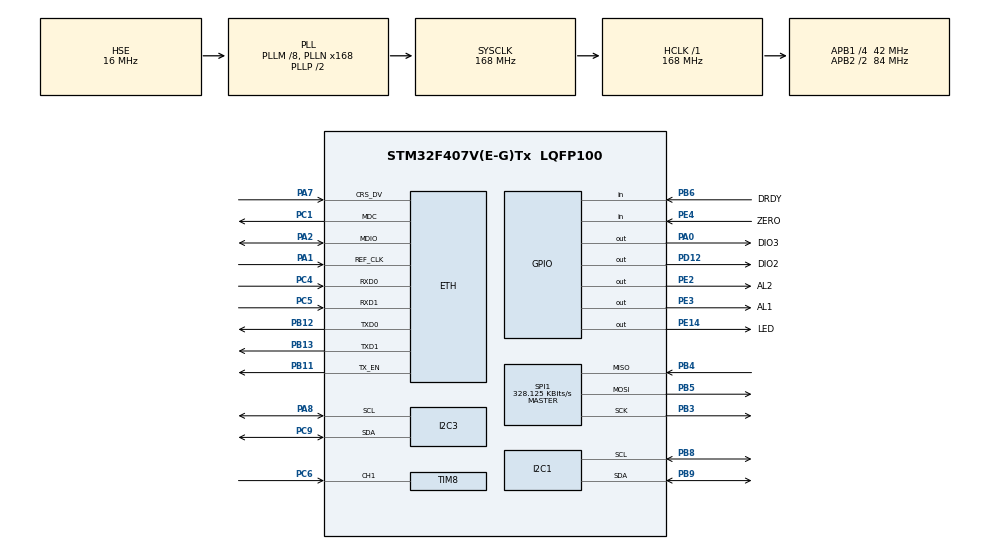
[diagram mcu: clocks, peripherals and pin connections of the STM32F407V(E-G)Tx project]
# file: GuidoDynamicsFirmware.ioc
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ADC1.Channel-1\#ChannelRegularConversion=ADC_CHANNEL_TEMPSENSOR
ADC1.ContinuousConvMode=ENABLE
ADC1.NbrOfConversionFlag=1
ADC1.Rank-1\#ChannelRegularConversion=1
ADC1.SamplingTime-1\#ChannelRegularConversion=ADC_SAMPLETIME_3CYCLES
ADC1.master=1
Dma.ADC1.0.Direction=DMA_PERIPH_TO_MEMORY
Dma.ADC1.0.FIFOMode=DMA_FIFOMODE_DISABLE
Dma.ADC1.0.Instance=DMA2_Stream0
Dma.ADC1.0.MemDataAlignment=DMA_MDATAALIGN_HALFWORD
Dma.ADC1.0.MemInc=DMA_MINC_ENABLE
Dma.ADC1.0.Mode=DMA_CIRCULAR
Dma.ADC1.0.PeriphDataAlignment=DMA_PDATAALIGN_HALFWORD
Dma.ADC1.0.PeriphInc=DMA_PINC_DISABLE
Dma.ADC1.0.Priority=DMA_PRIORITY_LOW
Dma.Request0=ADC1
ETH.MediaInterface=HAL_ETH_RMII_MODE
LWIP.BSP.number=1
LWIP.GATEWAY_ADDRESS=192.168.000.001
LWIP.IP_ADDRESS=192.168.000.123
LWIP.LWIP_DHCP=0
LWIP.MEM_SIZE=10*1024
LWIP.NETMASK_ADDRESS=255.255.255.000
LWIP.Version=v2.1.2_Cube
LWIP0.BSP.STBoard=false
LWIP0.BSP.api=BSP_COMPONENT_DRIVER
LWIP0.BSP.component=LAN8742
LWIP0.BSP.instance=LAN8742
LWIP0.BSP.name=Driver_PHY
LWIP0.BSP.semaphore=S_LAN8742
LWIP0.BSP.solution=LAN8742
Mcu.Family=STM32F4
Mcu.Name=STM32F407V(E-G)Tx
Mcu.Package=LQFP100
NVIC.DMA2_Stream0_IRQn=true\:1\:0\:true\:false\:true\:false\:true\:true
NVIC.ETH_IRQn=true\:0\:0\:true\:false\:true\:true\:true\:true
NVIC.PriorityGroup=NVIC_PRIORITYGROUP_4
NVIC.TIM1_UP_TIM10_IRQn=true\:0\:0\:false\:false\:true\:true\:true\:true
NVIC.TIM3_IRQn=true\:1\:0\:true\:false\:true\:true\:true\:true
NVIC.TIM4_IRQn=true\:5\:0\:true\:false\:true\:true\:true\:true
NVIC.TIM7_IRQn=true\:0\:0\:false\:false\:true\:true\:true\:true
NVIC.TIM8_CC_IRQn=true\:1\:0\:true\:false\:true\:true\:true\:true
NVIC.TIM8_UP_TIM13_IRQn=true\:1\:0\:true\:false\:true\:true\:true\:true
PA0-WKUP.GPIO_Label=DIO3
PA0-WKUP.GPIO_Speed=GPIO_SPEED_FREQ_VERY_HIGH
PA0-WKUP.Signal=GPIO_Output
PA1.Mode=RMII
PA1.Signal=ETH_REF_CLK
PA13.Mode=Serial_Wire
PA13.Signal=SYS_JTMS-SWDIO
PA14.Mode=Serial_Wire
PA14.Signal=SYS_JTCK-SWCLK
PA2.Mode=RMII
PA2.Signal=ETH_MDIO
PA7.Mode=RMII
PA7.Signal=ETH_CRS_DV
PA8.Mode=I2C
PA8.Signal=I2C3_SCL
PB11.Mode=RMII
PB11.Signal=ETH_TX_EN
PB12.Mode=RMII
PB12.Signal=ETH_TXD0
PB13.Mode=RMII
PB13.Signal=ETH_TXD1
PB3.Mode=Full_Duplex_Master
PB3.Signal=SPI1_SCK
PB4.Mode=Full_Duplex_Master
PB4.Signal=SPI1_MISO
PB5.Mode=Full_Duplex_Master
PB5.Signal=SPI1_MOSI
PB6.GPIO_Label=DRDY
PB6.GPIO_Mode=GPIO_MODE_INPUT
PB6.GPIO_PuPd=GPIO_PULLUP
PB6.Signal=GPIO_Input
PB8.Mode=I2C
PB8.Signal=I2C1_SCL
PB9.Mode=I2C
PB9.Signal=I2C1_SDA
PC1.Mode=RMII
PC1.Signal=ETH_MDC
PC4.Mode=RMII
PC4.Signal=ETH_RXD0
PC5.Mode=RMII
PC5.Signal=ETH_RXD1
PC6.Signal=S_TIM8_CH1
PC9.Mode=I2C
PC9.Signal=I2C3_SDA
PD12.GPIO_Label=DIO2
PD12.GPIO_Speed=GPIO_SPEED_FREQ_HIGH
PD12.Signal=GPIO_Output
PE14.GPIO_Label=LED
PE14.Signal=GPIO_Output
PE2.GPIO_Label=AL2
PE2.Signal=GPIO_Output
PE3.GPIO_Label=AL1
PE3.Signal=GPIO_Output
PE4.GPIO_Label=ZERO
PE4.Signal=GPIO_Input
PH0-OSC_IN.Mode=HSE-External-Oscillator
PH0-OSC_IN.Signal=RCC_OSC_IN
PH1-OSC_OUT.Mode=HSE-External-Oscillator
PH1-OSC_OUT.Signal=RCC_OSC_OUT
ProjectManager.HeapSize=0x200
ProjectManager.StackSize=0x400
ProjectManager.TargetToolchain=STM32CubeIDE
RCC.48MHZClocksFreq_Value=84000000
RCC.AHBFreq_Value=168000000
RCC.APB1CLKDivider=RCC_HCLK_DIV4
RCC.APB1Freq_Value=42000000
RCC.APB1TimFreq_Value=84000000
RCC.APB2CLKDivider=RCC_HCLK_DIV2
RCC.APB2Freq_Value=84000000
RCC.APB2TimFreq_Value=168000000
RCC.CortexFreq_Value=168000000
RCC.HCLKFreq_Value=168000000
RCC.HSE_VALUE=16000000
RCC.HSI_VALUE=16000000
RCC.LSE_VALUE=32768
RCC.PLLM=8
RCC.PLLN=168
RCC.PLLSourceVirtual=RCC_PLLSOURCE_HSE
RCC.SYSCLKFreq_VALUE=168000000
RCC.SYSCLKSource=RCC_SYSCLKSOURCE_PLLCLK
RCC.VCOOutputFreq_Value=336000000
SH.S_TIM8_CH1.0=TIM8_CH1,Input_Capture1_from_TI1
SH.S_TIM8_CH1.1=TIM8_CH1,TriggerSource_TI1FP1
SPI1.BaudRatePrescaler=SPI_BAUDRATEPRESCALER_256
SPI1.CLKPhase=SPI_PHASE_2EDGE
SPI1.CalculateBaudRate=328.125 KBits/s
SPI1.Direction=SPI_DIRECTION_2LINES
SPI1.Mode=SPI_MODE_MASTER
SPI1.VirtualType=VM_MASTER
TIM1.Period=10000-1
TIM1.Prescaler=8400-1
TIM13.Period=84-1
TIM13.Prescaler=10000-1
TIM3.Period=560-1
TIM3.Prescaler=10000-1
TIM4.Period=84-1
TIM4.Prescaler=10-1
TIM7.Period=500-1
TIM7.Prescaler=8400-1
TIM8.Channel-Input_Capture1_from_TI1=TIM_CHANNEL_1
TIM8.Period=64000
TIM8.Prescaler=50-1
TIM9.Prescaler=64000-1
VP_ADC1_TempSens_Input.Mode=IN-TempSens
VP_LWIP_VS_Enabled.Mode=Enabled
VP_TIM13_VS_ClockSourceINT.Mode=Enable_Timer
VP_TIM1_VS_ClockSourceINT.Mode=Internal
VP_TIM3_VS_ClockSourceINT.Mode=Internal
VP_TIM4_VS_ClockSourceINT.Mode=Internal
VP_TIM7_VS_ClockSourceINT.Mode=Enable_Timer
VP_TIM8_VS_ClockSourceINT.Mode=Internal
VP_TIM8_VS_ControllerModeReset.Mode=Reset Mode
VP_TIM9_VS_ClockSourceINT.Mode=Internal
board=custom

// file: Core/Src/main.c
/* USER CODE BEGIN Header */
/**
  ******************************************************************************
  * @file           : main.c
  * @brief          : Main program body
  ******************************************************************************
  * @attention
  *
  * Copyright (c) 2026 STMicroelectronics.
  * All rights reserved.
  *
  * This software is licensed under terms that can be found in the LICENSE file
  * in the root directory of this software component.
  * If no LICENSE file comes with this software, it is provided AS-IS.
  *
  ******************************************************************************
  */
/* USER CODE END Header */
#include "main.h"
#include "lwip.h"

/* USER CODE BEGIN Includes */
#include "udpClientRAW.h"
#include "ADS1115.h"
#include "BME680.h"
#include "valveControl.h"
#include "ADS124S06.h"
/* USER CODE END Includes */

/* USER CODE BEGIN PTD */
#define HALL_INDUCTANCE SpeedInduction_Pin
#define PULSE_PER_REV 50
#define RAMP_TIMER_FREQUENCY 15
/* USER CODE END PTD */

ADC_HandleTypeDef hadc1;
DMA_HandleTypeDef hdma_adc1;

I2C_HandleTypeDef hi2c1;
I2C_HandleTypeDef hi2c3;

SPI_HandleTypeDef hspi1;

TIM_HandleTypeDef htim1;
TIM_HandleTypeDef htim3;
TIM_HandleTypeDef htim4;
TIM_HandleTypeDef htim7;
TIM_HandleTypeDef htim8;
TIM_HandleTypeDef htim9;
TIM_HandleTypeDef htim13;

/* USER CODE BEGIN PV */
int pollTempPresHumi = 0; // Flag to measure temperature, pressure, and humidity
int pollForce = 0; // Flag to measure load cell force
// There is not speed flag (interrupt driven)

uint32_t timerNow = 0;
uint32_t timerPrev = 0;

uint16_t adc_buf[16];

int ringsDebounce = 0;

int visAlarm = 0;

int pumpActive = 0;
int startCount = 0;
float valveIdleThresh = 400.0f;

float KI_Storage = 0.0f;

struct valveData valveData;
struct PID_Data PID_Data;
/* USER CODE END PV */

void SystemClock_Config(void);
static void MX_GPIO_Init(void);
static void MX_DMA_Init(void);
static void MX_TIM1_Init(void);
static void MX_I2C1_Init(void);
static void MX_I2C3_Init(void);
static void MX_TIM8_Init(void);
static void MX_TIM3_Init(void);
static void MX_TIM4_Init(void);
static void MX_ADC1_Init(void);
static void MX_TIM13_Init(void);
static void MX_TIM7_Init(void);
static void MX_SPI1_Init(void);
static void MX_TIM9_Init(void);

/* USER CODE BEGIN 0 */
extern struct netif gnetif;
extern struct dataPacket dataPacketNow;
extern struct dataPacket dataPacketPrev;

extern int environmentalFlag;

extern int rings;
/* USER CODE END 0 */

int main(void)
{

  /* MCU Configuration--------------------------------------------------------*/

  /* Reset of all peripherals, Initializes the Flash interface and the Systick. */
  HAL_Init();

  /* Configure the system clock */
  SystemClock_Config();

  /* Initialize all configured peripherals */
  MX_GPIO_Init();
  MX_DMA_Init();
  MX_TIM1_Init();
  MX_LWIP_Init();
  MX_I2C1_Init();
  MX_I2C3_Init();
  MX_TIM8_Init();
  MX_TIM3_Init();
  MX_TIM4_Init();
  MX_ADC1_Init();
  MX_TIM13_Init();
  MX_TIM7_Init();
  MX_SPI1_Init();
  MX_TIM9_Init();
  /* USER CODE BEGIN 2 */
  HAL_TIM_Base_Start_IT(&htim1);
  HAL_TIM_Base_Start_IT(&htim3);
  HAL_TIM_Base_Start_IT(&htim4);
  HAL_TIM_Base_Start_IT(&htim7);
  HAL_TIM_Base_Start_IT(&htim9);
  HAL_TIM_Base_Start_IT(&htim13);
  HAL_TIM_IC_Start_IT(&htim8, TIM_CHANNEL_1);

  udpClient_connect();

  // Default values for valve
  valveData.pulsesPerRev = 6400; // This should be set to the lowest possible selectable
  valveData.upperBound = valveData.pulsesPerRev; // Rough guess, test and fix
  valveData.polarity = -1; // 1 for normal, -1 for inversed.
  valveData.position = 0; // Start at zero, then run zeroing procedure
  valveData.targetPosition = 0;
  valveData.gearReduction = 1;
  valveData.positionInSteps = 0;

  PID_Data.RPM_Target = 800;
  PID_Data.KP = 0.003f;
  PID_Data.KI = 0.01f;
  PID_Data.KD = 0.5f; // 0.5
  PID_Data.accum = 0.0f;
  PID_Data.accumMax = 1.0f;

  PID_Data.RPM_EN = 0;

  HAL_GPIO_WritePin(AL2_GPIO_Port, AL2_Pin, 0);
  HAL_GPIO_WritePin(AL1_GPIO_Port, AL1_Pin, 0);

//  HAL_Delay(1000);

  rings = 2;

  BME680_Init();

//  HAL_GPIO_WritePin(DIO2_GPIO_Port, DIO2_Pin, 0);

//  HAL_NVIC_DisableIRQ(TIM4_IRQn);

  ADS124S06_Init();
  /* USER CODE END 2 */

  /* Infinite loop */
  while (1)
  {

    /* USER CODE BEGIN 3 */
	  if(visAlarm == 1){
//		  HAL_GPIO_WritePin(AL2_GPIO_Port, AL1_Pin, 1);
	  }

	  if(visAlarm == 1 && dataPacketNow.RPM <= 0.6 * PID_Data.RPM_End_Target){
//		  HAL_GPIO_WritePin(AL1_GPIO_Port, AL1_Pin, 0);
//		  HAL_GPIO_WritePin(AL2_GPIO_Port, AL2_Pin, 0);
		  visAlarm = 0;
	  }

	  if(valveData.intFlag == 1){
		  valveControlLoop();
	  }

	  if(PID_Data.RPM_Flag == 1){
		  PID_OP_PT();
	  }

	  if(valveData.position <= valveIdleThresh){
		  uint32_t cnt = __HAL_TIM_GET_COUNTER(&htim9);
		  if(cnt >= 30000){
			  pumpActive = 0;
//			  startCount = 0;
		  }
	  }else if(valveData.position >= valveIdleThresh){
		  __HAL_TIM_SET_COUNTER(&htim9, 0);  // reset to 0
		  pumpActive = 1;
	  }

	  if(pumpActive == 1){
		  HAL_GPIO_WritePin(AL1_GPIO_Port, AL1_Pin, 1);
	  }else{
		  HAL_GPIO_WritePin(AL1_GPIO_Port, AL1_Pin, 0);
	  }

	  if(PID_Data.RPMS_Flag){
		  PID_Data.RPMS_Flag = 0;
		  for(uint8_t i = 0; i < (sizeof(PID_Data.rpms)/sizeof(PID_Data.rpms[0]))-1; i++){
			  PID_Data.rpms[i+1] = PID_Data.rpms[i];
		  }
		  PID_Data.rpms[0] = dataPacketNow.RPM;

		  if(PID_Data.RPM_RAMP_EN == 1){
			  if(ringsDebounce == 0){
				   KI_Storage = PID_Data.KI;
				   PID_Data.KI = 0;
				  rings = 1;
				  ringsDebounce = 1;
			  }
			  PID_Data.RPM_Target += (PID_Data.RPM_Ramp_Rate/RAMP_TIMER_FREQUENCY);
			  if(PID_Data.RPM_Target >= PID_Data.RPM_End_Target-1){
				  rings = 6;
				  //visAlarm = 1;
				  PID_Data.KI = KI_Storage;
				  KI_Storage = 0;
				  PID_Data.RPM_RAMP_EN = 0;
				  ringsDebounce = 0;
			  }
		  }
	  }
//      if(PID_Data.RPMS_Flag == 1){
//		  PID_Data.RPMS_Flag = 0;
//		  for(uint8_t i = 0; i < sizeof(PID_Data.rpms)/sizeof(PID_Data.rpms[0]); i++){
//
//		  }
//      }

	  int32_t test = ADS124S06_ReadData();
	  float voltage = ADS124S06_ConvertToVoltage(test, 1.66f);

      if(environmentalFlag == 1){
    	  BME680_ForceTrigger();
    	  dataPacketNow.temp = BME680_ReadTemp();
    	  dataPacketNow.pressure = BME680_ReadPressure();
    	  dataPacketNow.humidity = BME680_ReadHumidity(dataPacketNow.temp);
    	  environmentalFlag = 0;
      }

//      HAL_ADC_Start_DMA(&hadc1, (uint32_t*)adc_buf, 16);
//      dataPacketNow.temp = (adc_buf[0] * 3.3) / 4096.0;
//      dataPacketNow.temp = (((dataPacketNow.temp) - 0.76) / 0.0025) + 25.0;

      dataPacketNow.force = voltage;

	  MX_LWIP_Process();
	  ethernetif_input(&gnetif);
	  sys_check_timeouts();
  }
  /* USER CODE END 3 */
}

void SystemClock_Config(void)
{
  RCC_OscInitTypeDef RCC_OscInitStruct = {0};
  RCC_ClkInitTypeDef RCC_ClkInitStruct = {0};

  /** Configure the main internal regulator output voltage
  */
  __HAL_RCC_PWR_CLK_ENABLE();
  __HAL_PWR_VOLTAGESCALING_CONFIG(PWR_REGULATOR_VOLTAGE_SCALE1);

  /** Initializes the RCC Oscillators according to the specified parameters
  * in the RCC_OscInitTypeDef structure.
  */
  RCC_OscInitStruct.OscillatorType = RCC_OSCILLATORTYPE_HSE;
  RCC_OscInitStruct.HSEState = RCC_HSE_ON;
  RCC_OscInitStruct.PLL.PLLState = RCC_PLL_ON;
  RCC_OscInitStruct.PLL.PLLSource = RCC_PLLSOURCE_HSE;
  RCC_OscInitStruct.PLL.PLLM = 8;
  RCC_OscInitStruct.PLL.PLLN = 168;
  RCC_OscInitStruct.PLL.PLLP = RCC_PLLP_DIV2;
  RCC_OscInitStruct.PLL.PLLQ = 4;
  if (HAL_RCC_OscConfig(&RCC_OscInitStruct) != HAL_OK)
  {
    Error_Handler();
  }

  /** Initializes the CPU, AHB and APB buses clocks
  */
  RCC_ClkInitStruct.ClockType = RCC_CLOCKTYPE_HCLK|RCC_CLOCKTYPE_SYSCLK
                              |RCC_CLOCKTYPE_PCLK1|RCC_CLOCKTYPE_PCLK2;
  RCC_ClkInitStruct.SYSCLKSource = RCC_SYSCLKSOURCE_PLLCLK;
  RCC_ClkInitStruct.AHBCLKDivider = RCC_SYSCLK_DIV1;
  RCC_ClkInitStruct.APB1CLKDivider = RCC_HCLK_DIV4;
  RCC_ClkInitStruct.APB2CLKDivider = RCC_HCLK_DIV2;

  if (HAL_RCC_ClockConfig(&RCC_ClkInitStruct, FLASH_LATENCY_5) != HAL_OK)
  {
    Error_Handler();
  }
}

static void MX_ADC1_Init(void)
{

  ADC_ChannelConfTypeDef sConfig = {0};

  /** Configure the global features of the ADC (Clock, Resolution, Data Alignment and number of conversion)
  */
  hadc1.Instance = ADC1;
  hadc1.Init.ClockPrescaler = ADC_CLOCK_SYNC_PCLK_DIV4;
  hadc1.Init.Resolution = ADC_RESOLUTION_12B;
  hadc1.Init.ScanConvMode = DISABLE;
  hadc1.Init.ContinuousConvMode = ENABLE;
  hadc1.Init.DiscontinuousConvMode = DISABLE;
  hadc1.Init.ExternalTrigConvEdge = ADC_EXTERNALTRIGCONVEDGE_NONE;
  hadc1.Init.ExternalTrigConv = ADC_SOFTWARE_START;
  hadc1.Init.DataAlign = ADC_DATAALIGN_RIGHT;
  hadc1.Init.NbrOfConversion = 1;
  hadc1.Init.DMAContinuousRequests = DISABLE;
  hadc1.Init.EOCSelection = ADC_EOC_SINGLE_CONV;
  if (HAL_ADC_Init(&hadc1) != HAL_OK)
  {
    Error_Handler();
  }

  /** Configure for the selected ADC regular channel its corresponding rank in the sequencer and its sample time.
  */
  sConfig.Channel = ADC_CHANNEL_TEMPSENSOR;
  sConfig.Rank = 1;
  sConfig.SamplingTime = ADC_SAMPLETIME_3CYCLES;
  if (HAL_ADC_ConfigChannel(&hadc1, &sConfig) != HAL_OK)
  {
    Error_Handler();
  }

}

static void MX_I2C1_Init(void)
{

  hi2c1.Instance = I2C1;
  hi2c1.Init.ClockSpeed = 100000;
  hi2c1.Init.DutyCycle = I2C_DUTYCYCLE_2;
  hi2c1.Init.OwnAddress1 = 0;
  hi2c1.Init.AddressingMode = I2C_ADDRESSINGMODE_7BIT;
  hi2c1.Init.DualAddressMode = I2C_DUALADDRESS_DISABLE;
  hi2c1.Init.OwnAddress2 = 0;
  hi2c1.Init.GeneralCallMode = I2C_GENERALCALL_DISABLE;
  hi2c1.Init.NoStretchMode = I2C_NOSTRETCH_DISABLE;
  if (HAL_I2C_Init(&hi2c1) != HAL_OK)
  {
    Error_Handler();
  }

}

static void MX_I2C3_Init(void)
{

  hi2c3.Instance = I2C3;
  hi2c3.Init.ClockSpeed = 100000;
  hi2c3.Init.DutyCycle = I2C_DUTYCYCLE_2;
  hi2c3.Init.OwnAddress1 = 0;
  hi2c3.Init.AddressingMode = I2C_ADDRESSINGMODE_7BIT;
  hi2c3.Init.DualAddressMode = I2C_DUALADDRESS_DISABLE;
  hi2c3.Init.OwnAddress2 = 0;
  hi2c3.Init.GeneralCallMode = I2C_GENERALCALL_DISABLE;
  hi2c3.Init.NoStretchMode = I2C_NOSTRETCH_DISABLE;
  if (HAL_I2C_Init(&hi2c3) != HAL_OK)
  {
    Error_Handler();
  }

}

static void MX_SPI1_Init(void)
{

  /* SPI1 parameter configuration*/
  hspi1.Instance = SPI1;
  hspi1.Init.Mode = SPI_MODE_MASTER;
  hspi1.Init.Direction = SPI_DIRECTION_2LINES;
  hspi1.Init.DataSize = SPI_DATASIZE_8BIT;
  hspi1.Init.CLKPolarity = SPI_POLARITY_LOW;
  hspi1.Init.CLKPhase = SPI_PHASE_2EDGE;
  hspi1.Init.NSS = SPI_NSS_SOFT;
  hspi1.Init.BaudRatePrescaler = SPI_BAUDRATEPRESCALER_256;
  hspi1.Init.FirstBit = SPI_FIRSTBIT_MSB;
  hspi1.Init.TIMode = SPI_TIMODE_DISABLE;
  hspi1.Init.CRCCalculation = SPI_CRCCALCULATION_DISABLE;
  hspi1.Init.CRCPolynomial = 10;
  if (HAL_SPI_Init(&hspi1) != HAL_OK)
  {
    Error_Handler();
  }

}

static void MX_TIM1_Init(void)
{

  TIM_ClockConfigTypeDef sClockSourceConfig = {0};
  TIM_MasterConfigTypeDef sMasterConfig = {0};

  htim1.Instance = TIM1;
  htim1.Init.Prescaler = 8400-1;
  htim1.Init.CounterMode = TIM_COUNTERMODE_UP;
  htim1.Init.Period = 10000-1;
  htim1.Init.ClockDivision = TIM_CLOCKDIVISION_DIV1;
  htim1.Init.RepetitionCounter = 0;
  htim1.Init.AutoReloadPreload = TIM_AUTORELOAD_PRELOAD_DISABLE;
  if (HAL_TIM_Base_Init(&htim1) != HAL_OK)
  {
    Error_Handler();
  }
  sClockSourceConfig.ClockSource = TIM_CLOCKSOURCE_INTERNAL;
  if (HAL_TIM_ConfigClockSource(&htim1, &sClockSourceConfig) != HAL_OK)
  {
    Error_Handler();
  }
  sMasterConfig.MasterOutputTrigger = TIM_TRGO_RESET;
  sMasterConfig.MasterSlaveMode = TIM_MASTERSLAVEMODE_DISABLE;
  if (HAL_TIMEx_MasterConfigSynchronization(&htim1, &sMasterConfig) != HAL_OK)
  {
    Error_Handler();
  }

}

static void MX_TIM3_Init(void)
{

  TIM_ClockConfigTypeDef sClockSourceConfig = {0};
  TIM_MasterConfigTypeDef sMasterConfig = {0};

  htim3.Instance = TIM3;
  htim3.Init.Prescaler = 10000-1;
  htim3.Init.CounterMode = TIM_COUNTERMODE_UP;
  htim3.Init.Period = 560-1;
  htim3.Init.ClockDivision = TIM_CLOCKDIVISION_DIV1;
  htim3.Init.AutoReloadPreload = TIM_AUTORELOAD_PRELOAD_DISABLE;
  if (HAL_TIM_Base_Init(&htim3) != HAL_OK)
  {
    Error_Handler();
  }
  sClockSourceConfig.ClockSource = TIM_CLOCKSOURCE_INTERNAL;
  if (HAL_TIM_ConfigClockSource(&htim3, &sClockSourceConfig) != HAL_OK)
  {
    Error_Handler();
  }
  sMasterConfig.MasterOutputTrigger = TIM_TRGO_RESET;
  sMasterConfig.MasterSlaveMode = TIM_MASTERSLAVEMODE_DISABLE;
  if (HAL_TIMEx_MasterConfigSynchronization(&htim3, &sMasterConfig) != HAL_OK)
  {
    Error_Handler();
  }

}

static void MX_TIM4_Init(void)
{

  TIM_ClockConfigTypeDef sClockSourceConfig = {0};
  TIM_MasterConfigTypeDef sMasterConfig = {0};

  htim4.Instance = TIM4;
  htim4.Init.Prescaler = 10-1;
  htim4.Init.CounterMode = TIM_COUNTERMODE_UP;
  htim4.Init.Period = 84-1;
  htim4.Init.ClockDivision = TIM_CLOCKDIVISION_DIV1;
  htim4.Init.AutoReloadPreload = TIM_AUTORELOAD_PRELOAD_DISABLE;
  if (HAL_TIM_Base_Init(&htim4) != HAL_OK)
  {
    Error_Handler();
  }
  sClockSourceConfig.ClockSource = TIM_CLOCKSOURCE_INTERNAL;
  if (HAL_TIM_ConfigClockSource(&htim4, &sClockSourceConfig) != HAL_OK)
  {
    Error_Handler();
  }
  sMasterConfig.MasterOutputTrigger = TIM_TRGO_RESET;
  sMasterConfig.MasterSlaveMode = TIM_MASTERSLAVEMODE_DISABLE;
  if (HAL_TIMEx_MasterConfigSynchronization(&htim4, &sMasterConfig) != HAL_OK)
  {
    Error_Handler();
  }

}

static void MX_TIM7_Init(void)
{

  TIM_MasterConfigTypeDef sMasterConfig = {0};

  htim7.Instance = TIM7;
  htim7.Init.Prescaler = 8400-1;
  htim7.Init.CounterMode = TIM_COUNTERMODE_UP;
  htim7.Init.Period = 500-1;
  htim7.Init.AutoReloadPreload = TIM_AUTORELOAD_PRELOAD_DISABLE;
  if (HAL_TIM_Base_Init(&htim7) != HAL_OK)
  {
    Error_Handler();
  }
  sMasterConfig.MasterOutputTrigger = TIM_TRGO_RESET;
  sMasterConfig.MasterSlaveMode = TIM_MASTERSLAVEMODE_DISABLE;
  if (HAL_TIMEx_MasterConfigSynchronization(&htim7, &sMasterConfig) != HAL_OK)
  {
    Error_Handler();
  }

}

static void MX_TIM8_Init(void)
{

  TIM_ClockConfigTypeDef sClockSourceConfig = {0};
  TIM_SlaveConfigTypeDef sSlaveConfig = {0};
  TIM_MasterConfigTypeDef sMasterConfig = {0};
  TIM_IC_InitTypeDef sConfigIC = {0};

  htim8.Instance = TIM8;
  htim8.Init.Prescaler = 50-1;
  htim8.Init.CounterMode = TIM_COUNTERMODE_UP;
  htim8.Init.Period = 64000;
  htim8.Init.ClockDivision = TIM_CLOCKDIVISION_DIV1;
  htim8.Init.RepetitionCounter = 0;
  htim8.Init.AutoReloadPreload = TIM_AUTORELOAD_PRELOAD_DISABLE;
  if (HAL_TIM_Base_Init(&htim8) != HAL_OK)
  {
    Error_Handler();
  }
  sClockSourceConfig.ClockSource = TIM_CLOCKSOURCE_INTERNAL;
  if (HAL_TIM_ConfigClockSource(&htim8, &sClockSourceConfig) != HAL_OK)
  {
    Error_Handler();
  }
  if (HAL_TIM_IC_Init(&htim8) != HAL_OK)
  {
    Error_Handler();
  }
  sSlaveConfig.SlaveMode = TIM_SLAVEMODE_RESET;
  sSlaveConfig.InputTrigger = TIM_TS_TI1FP1;
  sSlaveConfig.TriggerPolarity = TIM_INPUTCHANNELPOLARITY_RISING;
  sSlaveConfig.TriggerFilter = 0;
  if (HAL_TIM_SlaveConfigSynchro(&htim8, &sSlaveConfig) != HAL_OK)
  {
    Error_Handler();
  }
  sMasterConfig.MasterOutputTrigger = TIM_TRGO_RESET;
  sMasterConfig.MasterSlaveMode = TIM_MASTERSLAVEMODE_DISABLE;
  if (HAL_TIMEx_MasterConfigSynchronization(&htim8, &sMasterConfig) != HAL_OK)
  {
    Error_Handler();
  }
  sConfigIC.ICPolarity = TIM_INPUTCHANNELPOLARITY_RISING;
  sConfigIC.ICSelection = TIM_ICSELECTION_DIRECTTI;
  sConfigIC.ICPrescaler = TIM_ICPSC_DIV1;
  sConfigIC.ICFilter = 0;
  if (HAL_TIM_IC_ConfigChannel(&htim8, &sConfigIC, TIM_CHANNEL_1) != HAL_OK)
  {
    Error_Handler();
  }

}

static void MX_TIM9_Init(void)
{

  TIM_ClockConfigTypeDef sClockSourceConfig = {0};

  htim9.Instance = TIM9;
  htim9.Init.Prescaler = 64000-1;
  htim9.Init.CounterMode = TIM_COUNTERMODE_UP;
  htim9.Init.Period = 65535;
  htim9.Init.ClockDivision = TIM_CLOCKDIVISION_DIV1;
  htim9.Init.AutoReloadPreload = TIM_AUTORELOAD_PRELOAD_DISABLE;
  if (HAL_TIM_Base_Init(&htim9) != HAL_OK)
  {
    Error_Handler();
  }
  sClockSourceConfig.ClockSource = TIM_CLOCKSOURCE_INTERNAL;
  if (HAL_TIM_ConfigClockSource(&htim9, &sClockSourceConfig) != HAL_OK)
  {
    Error_Handler();
  }

}

static void MX_TIM13_Init(void)
{

  htim13.Instance = TIM13;
  htim13.Init.Prescaler = 10000-1;
  htim13.Init.CounterMode = TIM_COUNTERMODE_UP;
  htim13.Init.Period = 84-1;
  htim13.Init.ClockDivision = TIM_CLOCKDIVISION_DIV1;
  htim13.Init.AutoReloadPreload = TIM_AUTORELOAD_PRELOAD_DISABLE;
  if (HAL_TIM_Base_Init(&htim13) != HAL_OK)
  {
    Error_Handler();
  }

}

static void MX_DMA_Init(void)
{

  /* DMA controller clock enable */
  __HAL_RCC_DMA2_CLK_ENABLE();

  /* DMA interrupt init */
  /* DMA2_Stream0_IRQn interrupt configuration */
  HAL_NVIC_SetPriority(DMA2_Stream0_IRQn, 1, 0);
  HAL_NVIC_EnableIRQ(DMA2_Stream0_IRQn);

}

static void MX_GPIO_Init(void)
{
  GPIO_InitTypeDef GPIO_InitStruct = {0};

  /* GPIO Ports Clock Enable */
  __HAL_RCC_GPIOE_CLK_ENABLE();
  __HAL_RCC_GPIOH_CLK_ENABLE();
  __HAL_RCC_GPIOC_CLK_ENABLE();
  __HAL_RCC_GPIOA_CLK_ENABLE();
  __HAL_RCC_GPIOB_CLK_ENABLE();
  __HAL_RCC_GPIOD_CLK_ENABLE();

  /*Configure GPIO pin Output Level */
  HAL_GPIO_WritePin(GPIOE, AL2_Pin|AL1_Pin|LED_Pin, GPIO_PIN_RESET);

  /*Configure GPIO pin Output Level */
  HAL_GPIO_WritePin(DIO3_GPIO_Port, DIO3_Pin, GPIO_PIN_RESET);

  /*Configure GPIO pin Output Level */
  HAL_GPIO_WritePin(DIO2_GPIO_Port, DIO2_Pin, GPIO_PIN_RESET);

  /*Configure GPIO pins : AL2_Pin AL1_Pin LED_Pin */
  GPIO_InitStruct.Pin = AL2_Pin|AL1_Pin|LED_Pin;
  GPIO_InitStruct.Mode = GPIO_MODE_OUTPUT_PP;
  GPIO_InitStruct.Pull = GPIO_NOPULL;
  GPIO_InitStruct.Speed = GPIO_SPEED_FREQ_LOW;
  HAL_GPIO_Init(GPIOE, &GPIO_InitStruct);

  /*Configure GPIO pin : ZERO_Pin */
  GPIO_InitStruct.Pin = ZERO_Pin;
  GPIO_InitStruct.Mode = GPIO_MODE_INPUT;
  GPIO_InitStruct.Pull = GPIO_NOPULL;
  HAL_GPIO_Init(ZERO_GPIO_Port, &GPIO_InitStruct);

  /*Configure GPIO pin : DIO3_Pin */
  GPIO_InitStruct.Pin = DIO3_Pin;
  GPIO_InitStruct.Mode = GPIO_MODE_OUTPUT_PP;
  GPIO_InitStruct.Pull = GPIO_NOPULL;
  GPIO_InitStruct.Speed = GPIO_SPEED_FREQ_VERY_HIGH;
  HAL_GPIO_Init(DIO3_GPIO_Port, &GPIO_InitStruct);

  /*Configure GPIO pin : DIO2_Pin */
  GPIO_InitStruct.Pin = DIO2_Pin;
  GPIO_InitStruct.Mode = GPIO_MODE_OUTPUT_PP;
  GPIO_InitStruct.Pull = GPIO_NOPULL;
  GPIO_InitStruct.Speed = GPIO_SPEED_FREQ_HIGH;
  HAL_GPIO_Init(DIO2_GPIO_Port, &GPIO_InitStruct);

  /*Configure GPIO pin : DRDY_Pin */
  GPIO_InitStruct.Pin = DRDY_Pin;
  GPIO_InitStruct.Mode = GPIO_MODE_INPUT;
  GPIO_InitStruct.Pull = GPIO_PULLUP;
  HAL_GPIO_Init(DRDY_GPIO_Port, &GPIO_InitStruct);

}

/* USER CODE BEGIN 4 */

//Exti based spedd sensor
//void HAL_GPIO_EXTI_Callback(uint16_t GPIO_Pin)
//{
//	static uint32_t last_ms = 0;
//    if (GPIO_Pin == HALL_INDUCTANCE)
//    {
//    	uint32_t now = HAL_GetTick();
////    	if (now - last_ms > 125)   // debounce. Remove this shit once induction sensor is installed
////    	{
//    		last_ms = now;
//
//			timerNow = TIM8->CNT; // Get timer 8 value on falling edge
//			uint32_t pclk = HAL_RCC_GetPCLK2Freq(); // Gets APB2 Clock (for timer 8)
//			uint32_t tim8_prescaler = TIM8->PSC; // Get timer 8 prescaler
//
//			double timeDelay = 1/(double)((timerNow * (tim8_prescaler+1))/(double)pclk); // Calculate period between pulses
//
//			dataPacketNow.RPM = timeDelay*2; // 1/(timeDelay*PULSE_PER_REV); // Calculate RPM
//
//			__HAL_TIM_SET_COUNTER(&htim8, 0); // Reset to 0 after sending value
////    	}
//    }
//}

double captureValue = 0;
double frequency = 0;
double rpm = 0;
// Manually calibrated correction factors, fixing clock jitter effects, crystal instabillity, etc
double correctiveFactors[] = {0.4, 0.4, 0, -0.8, -2}; // Interval of 100Hz per index, tuned in lab

void HAL_TIM_IC_CaptureCallback(TIM_HandleTypeDef *htim) {
//	__HAL_TIM_SET_COUNTER(htim, 0);
    if (htim->Channel == HAL_TIM_ACTIVE_CHANNEL_1) {
        captureValue = HAL_TIM_ReadCapturedValue(htim, TIM_CHANNEL_1);
        frequency = (HAL_RCC_GetPCLK2Freq()*2) / (captureValue * (TIM8->PSC+1));
        rpm = (frequency / PULSE_PER_REV) * 60;
        //correctionFactor = rpm/200;
        if(rpm >= 4000 || (rpm >= 150 && rpm/dataPacketNow.RPM >= 1.3)){
        	rpm = dataPacketPrev.RPM;
        }
        dataPacketPrev.RPM = dataPacketNow.RPM;
        dataPacketNow.RPM = rpm; // - correctionFactor;
    }
}

/* USER CODE END 4 */

void Error_Handler(void)
{
  __disable_irq();
  while (1)
  {
  }
}
